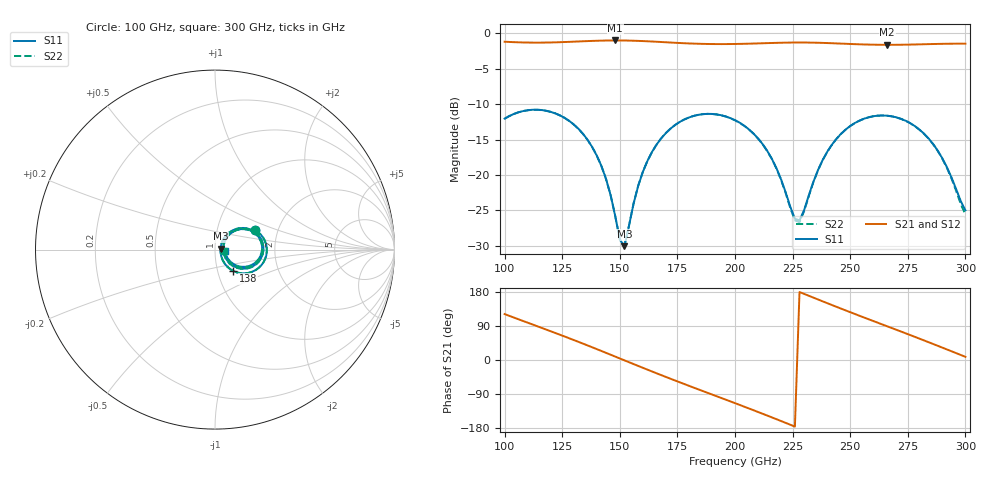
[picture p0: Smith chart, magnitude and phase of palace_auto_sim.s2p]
#  GHZ S DB R 50
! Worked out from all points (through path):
!   101 points, 100 GHz to 300 GHz, reference 50 ohm
!   highest |S21| = -1.00 dB at 148 GHz (marker M1); lowest = -1.6 dB at 266 GHz (marker M2)
!   group delay of S21, straight-line fit = 6.58 ps
!   lowest |S11| = -30.1 dB at 152 GHz (marker M3), VSWR 1.06, Z = 53.2 + j0.605 ohm
!   |S11| at or under -10 dB: start of sweep to end of sweep
!   |S22| runs from -30.0 to -10.8 dB; largest |S21 - S12| = 9.9e-14
!   S11 on the Smith chart (normalised r, x): 100 GHz: 1.53, +0.35; 138 GHz: 1.19, -0.29; 300 GHz: 1.12, -0.02
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100  -12.05 25.7  -1.17 121.2  -1.17 121.2  -12.05 25.7
118  -10.93 -10.6  -1.29 80.4  -1.29 80.4  -10.93 -10.7
134  -14.19 -42.4  -1.11 43.2  -1.11 43.2  -14.20 -42.5
138  -16.05 -49.3  -1.06 33.6  -1.06 33.6  -16.06 -49.4
144  -20.55 -55.3  -1.01 18.9  -1.01 18.9  -20.55 -55.3
148  -25.79 -47.1  -1.00 9.0  -1.00 9.0  -25.79 -47.1
150  -29.12 -27.4  -1.00 4.1  -1.00 4.1  -29.11 -27.4
152  -30.07 10.4  -1.00 -0.9  -1.00 -0.9  -30.03 10.3
160  -19.57 51.8  -1.08 -20.6  -1.08 -20.6  -19.57 51.5
168  -14.81 41.2  -1.22 -39.9  -1.22 -39.9  -14.81 40.9
184  -11.51 10.9  -1.46 -77.3  -1.46 -77.3  -11.51 10.5
200  -12.26 -19.1  -1.49 -113.9  -1.49 -113.9  -12.27 -19.6
214  -16.60 -40.6  -1.37 -146.7  -1.37 -146.7  -16.63 -41.3
226  -26.19 -12.1  -1.29 -175.7  -1.29 -175.7  -26.43 -12.7
228  -26.42 10.6  -1.29 179.4  -1.29 179.4  -26.66 10.7
234  -20.99 44.8  -1.31 164.7  -1.31 164.7  -21.05 45.2
240  -16.75 44.3  -1.36 150.1  -1.36 150.1  -16.77 44.3
248  -13.59 32.7  -1.47 130.9  -1.47 130.9  -13.60 32.5
266  -11.63 -0.8  -1.61 89.1  -1.61 89.1  -11.63 -1.3
268  -11.71 -4.6  -1.61 84.5  -1.61 84.5  -11.72 -5.1
286  -15.64 -34.5  -1.50 42.2  -1.50 42.2  -15.68 -35.8
300  -25.00 -9.0  -1.45 8.3  -1.45 8.3  -25.60 -10.6
